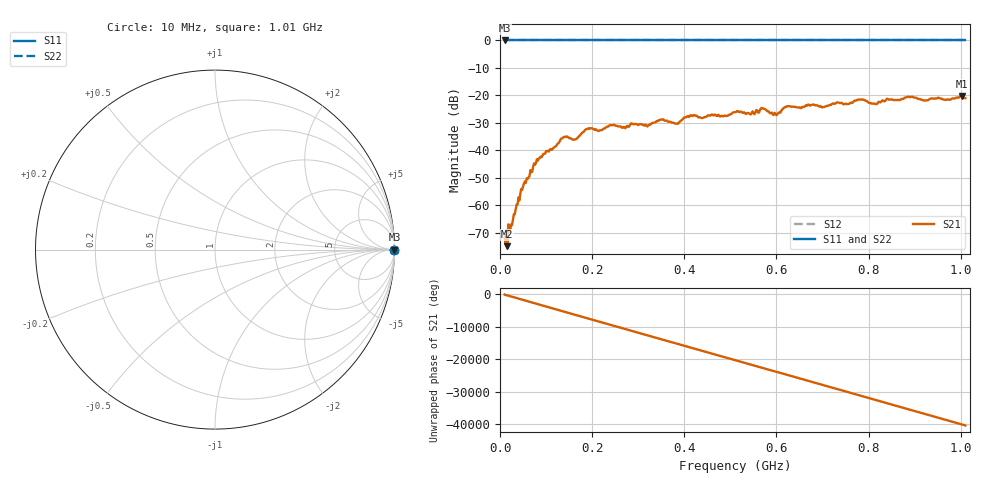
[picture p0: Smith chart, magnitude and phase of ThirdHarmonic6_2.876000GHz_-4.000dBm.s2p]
! 8/17/2025 7:52:26 AM
! C:\ANRITSUVNA\TEMP\TEMP.S2P
! CHANNEL.1
! TR.MEASUREMENT
! RAW.DATA
! RF.CORRECTION.OFF
! AVERAGING.OFF
! IF.BANDWIDTH: 5KHZ
! SWEEPTYPE:  FREQ.SWEEP(Linear)
! Reference Plane Port Info
! PORT:  PORT1  PORT2
! DISTANCE:  0  m  0  m
! TIME:  0  s  0  s
! PHASE.OFFSET:  0  deg.  0  deg.
! LOSS:  0  dB  0  dB
! REF.LOSS:  0  dB  0  dB
! REF.FREQ:  0  Hz  0  Hz
! Power Info
! POWER:  -20  dBm  -20  dBm
! EFF.POWER:  -20  dBm  -20  dBm
! SOURCE.ATTEN:  0  dB  0  dB
! TEST.ATTEN:  0  dB  0  dB
# GHZ S RI R 50.0
! FREQ.GHZ  S11RE  S11IM  S21RE  S21IM  S12RE  S12IM  S22RE  S22IM
!; PortSelection: Port_12
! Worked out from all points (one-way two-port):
!   501 points, 10 MHz to 1.01 GHz, reference 50 ohm
!   highest |S21| = -20.21 dB at 1.002 GHz (marker M1); lowest = -74.9 dB at 16 MHz (marker M2)
!   lowest |S11| = 0.0 dB at 10 MHz (marker M3)
!   |S11| at or under -10 dB: nowhere
!   |S22| runs from 0.0 to 0.0 dB; largest |S21 - S12| = 1.1
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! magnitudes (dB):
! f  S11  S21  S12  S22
! 10 MHz  0.0  -71.9  0.0  0.0
! 16 MHz  0.0  -74.9  0.0  0.0
! 50 MHz  0.0  -53.2  0.0  0.0
! 76 MHz  0.0  -45.3  0.0  0.0
! 136 MHz  0.0  -35.6  0.0  0.0
! 162 MHz  0.0  -36.1  0.0  0.0
! 178 MHz  0.0  -33.7  0.0  0.0
! 194 MHz  0.0  -32.2  0.0  0.0
! 322 MHz  0.0  -30.9  0.0  0.0
! 344 MHz  0.0  -29.3  0.0  0.0
! 384 MHz  0.0  -30.3  0.0  0.0
! 416 MHz  0.0  -27.5  0.0  0.0
! 510 MHz  0.0  -26.1  0.0  0.0
! 570 MHz  0.0  -24.7  0.0  0.0
! 598 MHz  0.0  -26.8  0.0  0.0
! 624 MHz  0.0  -23.9  0.0  0.0
! 678 MHz  0.0  -23.4  0.0  0.0
! 780 MHz  0.0  -21.5  0.0  0.0
! 814 MHz  0.0  -23.0  0.0  0.0
! 844 MHz  0.0  -21.6  0.0  0.0
! 1.002 GHz  0.0  -20.2  0.0  0.0
! 1.01 GHz  0.0  -21.0  0.0  0.0
